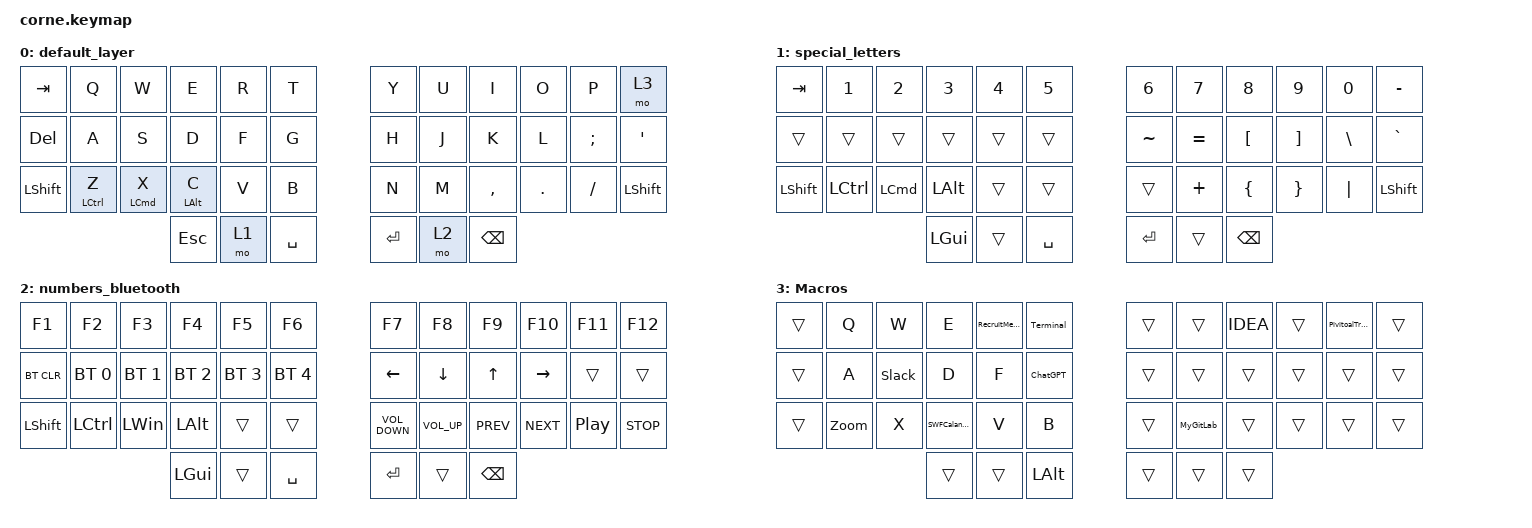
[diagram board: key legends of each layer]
/*
 * Copyright (c) 2020 The ZMK Contributors
 *
 * SPDX-License-Identifier: MIT
 */

#include <behaviors.dtsi>
#include <dt-bindings/zmk/bt.h>
#include <dt-bindings/zmk/keys.h>

#define numbers_bluetooth 1
#define special_letters 2

/ {
    combos {
        compatible = "zmk,combos";
    };

    macros {
        IDEA: IDEA {
            compatible = "zmk,behavior-macro";
            label = "IDEAMACRO";
            #binding-cells = <0>;
            bindings =
                <&macro_press>,
                <&macro_wait_time 150>,
                <&kp LEFT_COMMAND &kp SPACE>,
                <&macro_pause_for_release>,
                <&macro_release>,
                <&kp SPACE &kp LEFT_COMMAND>,
                <&macro_tap>,
                <&macro_wait_time 1>,
                <&kp I &kp D &kp E &kp A>,
                <&macro_wait_time 100>,
                <&kp ENTER &kp LEFT_COMMAND>;
        };
        MyGitLab: MyGitLab {
            compatible = "zmk,behavior-macro";
            label = "MyGitLab";
            #binding-cells = <0>;
            bindings =
                <&macro_press>,
                <&macro_wait_time 100>,
                <&kp LEFT_COMMAND &kp SPACE>,
                <&macro_pause_for_release>,
                <&macro_release>,
                <&kp SPACE &kp LEFT_COMMAND>,
                <&macro_tap>,
                <&kp G &kp I &kp T &kp L &kp A &kp B &kp DOT &kp C &kp O>,
                <&macro_wait_time 500>,
                <&kp M &kp ENTER>;
        };
        Terminal: Terminal {
            compatible = "zmk,behavior-macro";
            label = "Terminalmacro";
            #binding-cells = <0>;
            bindings =
                <&macro_press>,
                <&macro_wait_time 150>,
                <&kp LEFT_COMMAND &kp SPACE>,
                <&macro_pause_for_release>,
                <&macro_release>,
                <&kp SPACE &kp LEFT_COMMAND>,
                <&macro_tap>,
                <&kp I &kp T &kp E &kp R &kp M>,
                <&macro_wait_time 100>,
                <&kp ENTER>;
        };
        ChatGPT: ChatGPT {
            compatible = "zmk,behavior-macro";
            label = "ChatGPT_macro";
            #binding-cells = <0>;
            bindings =
                <&macro_press>,
                <&macro_wait_time 100>,
                <&kp LEFT_COMMAND &kp SPACE>,
                <&macro_pause_for_release>,
                <&macro_release>,
                <&kp SPACE &kp LEFT_COMMAND>,
                <&macro_tap>,
                <&kp H &kp T &kp T &kp P &kp S &kp COLON &kp FSLH &kp FSLH &kp C &kp H &kp A &kp T &kp DOT &kp O &kp P &kp E &kp N &kp A &kp I &kp DOT &kp C &kp O>,
                <&macro_wait_time 500>,
                <&kp M &kp ENTER>;
        };
        Zoom: Zoom {
            compatible = "zmk,behavior-macro";
            label = "Zoom_macro";
            #binding-cells = <0>;
            bindings =
                <&macro_press>,
                <&macro_wait_time 150>,
                <&kp LEFT_COMMAND &kp SPACE>,
                <&macro_pause_for_release>,
                <&macro_release>,
                <&kp SPACE &kp LEFT_COMMAND>,
                <&macro_tap>,
                <&kp Z &kp O &kp O &kp M>,
                <&macro_wait_time 100>,
                <&kp ENTER>;
        };
        PivitoalTracker: PivitoalTracker {
            compatible = "zmk,behavior-macro";
            label = "PivitolTracker_macro";
            #binding-cells = <0>;
            bindings =
                <&macro_press>,
                <&macro_wait_time 100>,
                <&kp LEFT_COMMAND &kp SPACE>,
                <&macro_pause_for_release>,
                <&macro_release>,
                <&kp SPACE &kp LEFT_COMMAND>,
                <&macro_tap>,
                <&kp H &kp T &kp T &kp P &kp COLON &kp FSLH &kp FSLH &kp P &kp I &kp V &kp O &kp T &kp A &kp L &kp T &kp R &kp A &kp C &kp K &kp E &kp R &kp DOT &kp C &kp O>,
                <&macro_wait_time 500>,
                <&kp M &kp ENTER>;
        };
        RecruitMeGitlab: RecruitMeGitlab {
            compatible = "zmk,behavior-macro";
            label = "RecruitMeGitlab_macro";
            #binding-cells = <0>;
            bindings =
                <&macro_press>,
                <&macro_wait_time 100>,
                <&kp LEFT_COMMAND &kp SPACE>,
                <&macro_pause_for_release>,
                <&macro_release>,
                <&kp SPACE &kp LEFT_COMMAND>,
                <&macro_tap>,
                <&kp R &kp E &kp C &kp R &kp U &kp I &kp T &kp M &kp E &kp G &kp I &kp T &kp L &kp A>,
                <&macro_wait_time 500>,
                <&kp B &kp ENTER>;
        };
        Slack: Slack {
            compatible = "zmk,behavior-macro";
            label = "Slack_macro";
            #binding-cells = <0>;
            bindings =
                <&macro_press>,
                <&macro_wait_time 150>,
                <&kp LEFT_COMMAND &kp SPACE>,
                <&macro_pause_for_release>,
                <&macro_release>,
                <&kp SPACE &kp LEFT_COMMAND>,
                <&macro_tap>,
                <&kp S &kp L &kp A &kp C &kp K>,
                <&macro_wait_time 100>,
                <&kp ENTER>;
        };
        SWFCalander: SWFCalander {
            compatible = "zmk,behavior-macro";
            label = "SWFCalander_macro";
            #binding-cells = <0>;
            bindings =
                <&macro_press>,
                <&macro_wait_time 100>,
                <&kp LEFT_COMMAND &kp SPACE>,
                <&macro_pause_for_release>,
                <&macro_release>,
                <&kp SPACE &kp LEFT_COMMAND>,
                <&macro_tap>,
                <&kp C &kp A &kp L &kp E &kp N &kp D &kp A &kp R &kp DOT &kp G &kp O &kp O &kp G &kp L &kp E &kp DOT &kp C &kp O &kp M &kp FSLH &kp C &kp A &kp L &kp E &kp N &kp D &kp A &kp R>,
                <&macro_wait_time 500>,
                <&kp FSLH &kp ENTER>;
        };
    };

    behaviors {
    };

    keymap {
        compatible = "zmk,keymap";

        default_layer {
            // -----------------------------------------------------------------------------------------
            // |  TAB |  Q  |  W  |  E  |  R  |  T  |   |  Y  |  U   |  I  |  O  |  P  | BKSP |
            // | CTRL |  A  |  S  |  D  |  F  |  G  |   |  H  |  J   |  K  |  L  |  ;  |  '   |
            // | SHFT |  Z  |  X  |  C  |  V  |  B  |   |  N  |  M   |  ,  |  .  |  /  | ESC  |
            //                    | GUI | LWR | SPC |   | ENT | RSE  | ALT |

            bindings = <
  &kp TAB               &kp Q               &kp W           &kp E  &kp R      &kp T    &kp Y  &kp U          &kp I    &kp O          &kp P           &mo 3
  &kp DEL               &kp A               &kp S           &kp D  &kp F      &kp G    &kp H  &kp J          &kp K    &kp L  &kp SEMICOLON         &kp SQT
&kp LSHFT  &mt LEFT_CONTROL Z  &mt LEFT_COMMAND X  &mt LEFT_ALT C  &kp V      &kp B    &kp N  &kp M      &kp COMMA  &kp DOT       &kp FSLH  &kp LEFT_SHIFT
                                                          &kp ESC  &mo 1  &kp SPACE  &kp RET  &mo 2  &kp BACKSPACE
            >;
        };

        special_letters {
            // -----------------------------------------------------------------------------------------
            // |  TAB |  !  |  @  |  #  |  $  |  %  |   |  ^  |  &  |  *  |  (  |  )  | BKSP |
            // | CTRL |     |     |     |     |     |   |  -  |  =  |  [  |  ]  |  \  |  `   |
            // | SHFT |     |     |     |     |     |   |  _  |  +  |  {  |  }  | "|" |  ~   |
            //                    | GUI |     | SPC |   | ENT |     | ALT |

            bindings = <
       &kp TAB      &kp NUMBER_1      &kp NUMBER_2  &kp NUMBER_3  &kp NUMBER_4  &kp NUMBER_5  &kp NUMBER_6  &kp NUMBER_7   &kp NUMBER_8  &kp NUMBER_9  &kp NUMBER_0       &kp MINUS
        &trans            &trans            &trans        &trans        &trans        &trans     &kp TILDE     &kp EQUAL       &kp LBKT      &kp RBKT      &kp BSLH       &kp GRAVE
&kp LEFT_SHIFT  &kp LEFT_CONTROL  &kp LEFT_COMMAND  &kp LEFT_ALT        &trans        &trans        &trans      &kp PLUS       &kp LBRC      &kp RBRC      &kp PIPE  &kp LEFT_SHIFT
                                                        &kp LGUI        &trans     &kp SPACE       &kp RET        &trans  &kp BACKSPACE
            >;
        };

        numbers_bluetooth {
            // -----------------------------------------------------------------------------------------
            // |  TAB |  1  |  2  |  3  |  4  |  5  |   |  6  |  7  |  8  |  9  |  0  | BKSP |
            // | BTCLR| BT1 | BT2 | BT3 | BT4 | BT5 |   | LFT | DWN |  UP | RGT |     |      |
            // | SHFT |     |     |     |     |     |   |     |     |     |     |     |      |
            //                    | GUI |     | SPC |   | ENT |     | ALT |

            bindings = <
    &kp F1            &kp F2        &kp F3        &kp F4        &kp F5        &kp F6             &kp F7           &kp F8         &kp F9     &kp F10           &kp F11     &kp F12
&bt BT_CLR      &bt BT_SEL 0  &bt BT_SEL 1  &bt BT_SEL 2  &bt BT_SEL 3  &bt BT_SEL 4           &kp LEFT         &kp DOWN         &kp UP   &kp RIGHT            &trans      &trans
 &kp LSHFT  &kp LEFT_CONTROL  &kp LEFT_WIN  &kp LEFT_ALT        &trans        &trans  &kp C_VOLUME_DOWN  &kp C_VOLUME_UP     &kp C_PREV  &kp C_NEXT  &kp C_PLAY_PAUSE  &kp C_STOP
                                                &kp LGUI        &trans     &kp SPACE            &kp RET           &trans  &kp BACKSPACE
            >;
        };

        Macros {
            bindings = <
&trans  &kp Q   &kp W         &kp E  &RecruitMeGitlab     &Terminal  &trans     &trans   &IDEA  &trans  &PivitoalTracker  &trans
&trans  &kp A  &Slack         &kp D             &kp F      &ChatGPT  &trans     &trans  &trans  &trans            &trans  &trans
&trans  &Zoom   &kp X  &SWFCalander             &kp V         &kp B  &trans  &MyGitLab  &trans  &trans            &trans  &trans
                             &trans            &trans  &kp LEFT_ALT  &trans     &trans  &trans
            >;
        };
    };
